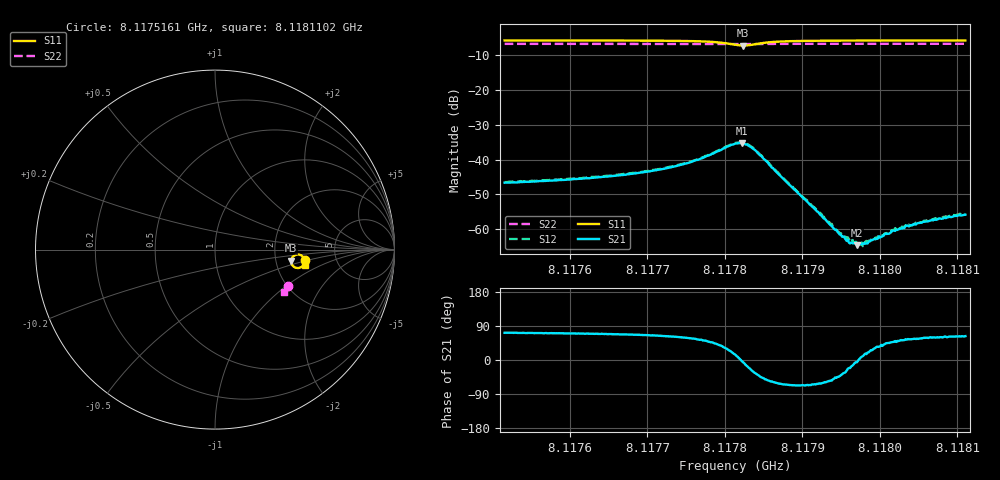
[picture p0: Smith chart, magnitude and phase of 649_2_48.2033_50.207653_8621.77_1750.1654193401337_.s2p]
#  HZ  S  RI  R  50.00
! Rohde & Schwarz Vector Network Analyzer
! Rohde-Schwarz,ZNB20-2Port,1311601062101988,3.16
! Created: UTC 3/20/2024, 12:05:08 PM
! freq[Hz]  re:S11  im:S11  re:S21  im:S21  re:S12  im:S12  re:S22  im:S22
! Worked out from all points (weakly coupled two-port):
!   401 points, 8.1175161 GHz to 8.1181102 GHz, reference 50 ohm
!   highest |S21| = -35.30 dB at 8.1178221 GHz (marker M1); lowest = -64.5 dB at 8.1179706 GHz (marker M2)
!   lowest |S11| = -7.4 dB at 8.1178235 GHz (marker M3), VSWR 2.50, Z = 122 - j18.4 ohm
!   |S11| at or under -10 dB: nowhere
!   |S22| runs from -6.9 to -6.9 dB; largest |S21 - S12| = 0.00061
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8.11751605e9  0.5037 -0.056  0.00146 0.00442  0.00149 0.00451  0.405 -0.2024
8.11761558e9  0.5016 -0.0665  0.00186 0.005  0.00189 0.00505  0.4019 -0.2089
8.11767054e9  0.4994 -0.0738  0.00233 0.0056  0.00244 0.00569  0.4002 -0.2123
8.1177151e9  0.496 -0.0816  0.00311 0.00643  0.00319 0.00654  0.3987 -0.2153
8.11776561e9  0.4842 -0.0951  0.0058 0.00807  0.00596 0.00821  0.3964 -0.2188
8.11781314e9  0.4315 -0.0877  0.0163 0.00425  0.0167 0.00425  0.3928 -0.2206
8.11782205e9  0.4239 -0.0657  0.0172 -0.000789  0.0174 -0.000777  0.3925 -0.2201
8.11782354e9  0.4239 -0.0617  0.0169 -0.00177  0.0174 -0.00173  0.3926 -0.2201
8.11783097e9  0.4313 -0.0426  0.0147 -0.00556  0.0152 -0.00566  0.3929 -0.2199
8.11783988e9  0.4484 -0.0296  0.0109 -0.00779  0.0109 -0.00802  0.3936 -0.22
8.1178681e9  0.4857 -0.0363  0.00304 -0.0056  0.00316 -0.0058  0.3941 -0.2223
8.11791267e9  0.4983 -0.0552  0.000912 -0.00191  0.000907 -0.00197  0.3931 -0.2259
8.11794386e9  0.5 -0.063  0.000659 -0.000711  0.000683 -0.000718  0.3922 -0.2282
8.11795871e9  0.5004 -0.066  0.000654 -0.000279  0.000685 -0.00035  0.3917 -0.2291
8.1179706e9  0.5005 -0.068  0.000594 -5.82e-05  0.000634 -6.57e-05  0.3912 -0.23
8.11797654e9  0.5006 -0.069  0.000604 9.09e-05  0.000646 6.48e-05  0.3911 -0.2303
8.11798397e9  0.5005 -0.0702  0.00059 0.00021  0.000637 0.000194  0.3908 -0.2309
8.11799288e9  0.5005 -0.0715  0.000631 0.000372  0.000602 0.000355  0.3905 -0.2314
8.11801219e9  0.5005 -0.0742  0.000617 0.000612  0.00064 0.000652  0.3899 -0.2328
8.11803596e9  0.5002 -0.0772  0.000641 0.000928  0.000675 0.00092  0.389 -0.2341
8.11805378e9  0.4999 -0.0795  0.000676 0.00105  0.000693 0.00104  0.3884 -0.2351
8.11811023e9  0.4994 -0.0853  0.000736 0.00144  0.000744 0.00148  0.3865 -0.2388
